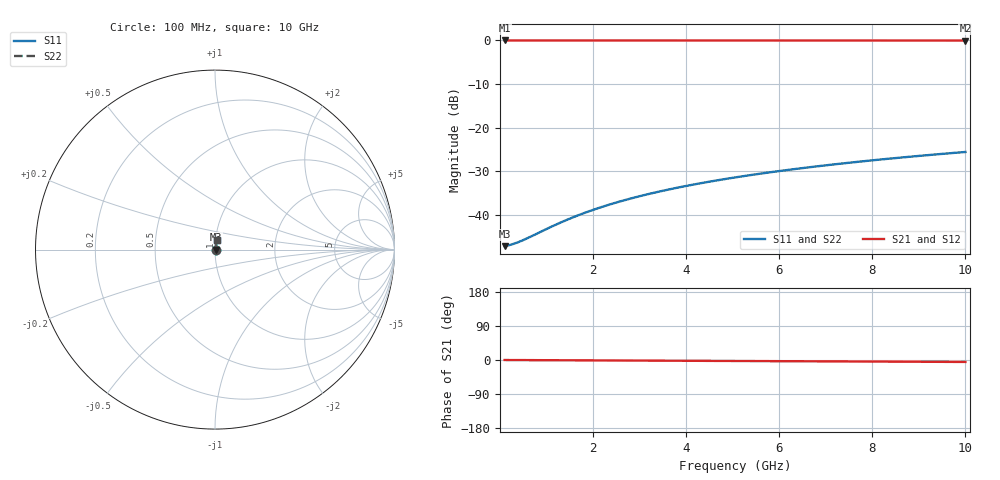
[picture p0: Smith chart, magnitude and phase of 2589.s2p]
# Hz S RI R 50.00
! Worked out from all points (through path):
!   100 points, 100 MHz to 10 GHz, reference 50 ohm
!   highest |S21| = -0.04 dB at 100 MHz (marker M1); lowest = -0.1 dB at 10 GHz (marker M2)
!   lowest |S11| = -47.1 dB at 100 MHz (marker M3), VSWR 1.01, Z = 50.4 + j0.0528 ohm
!   |S11| at or under -10 dB: start of sweep to end of sweep
!   |S22| runs from -47.1 to -25.5 dB; largest |S21 - S12| = 0
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1e8  0.00439 0.000523  0.9956 -0.000891  0.9956 -0.000891  0.00439 0.000523
2e8  0.00442 0.00105  0.9956 -0.00178  0.9956 -0.00178  0.00442 0.00105
3e8  0.00445 0.00157  0.9956 -0.00267  0.9956 -0.00267  0.00445 0.00157
4e8  0.00447 0.00209  0.9955 -0.00356  0.9955 -0.00356  0.00447 0.00209
6e8  0.0045 0.00314  0.9955 -0.00534  0.9955 -0.00534  0.0045 0.00314
1e9  0.00457 0.00523  0.9954 -0.00891  0.9954 -0.00891  0.00457 0.00523
1.3e9  0.00463 0.0068  0.9954 -0.0116  0.9954 -0.0116  0.00463 0.0068
1.5e9  0.00467 0.00784  0.9953 -0.0134  0.9953 -0.0134  0.00467 0.00784
1.8e9  0.00473 0.00941  0.9952 -0.016  0.9952 -0.016  0.00473 0.00941
2.1e9  0.00481 0.011  0.9952 -0.0187  0.9952 -0.0187  0.00481 0.011
2.5e9  0.00491 0.0131  0.995 -0.0223  0.995 -0.0223  0.00491 0.0131
2.9e9  0.00503 0.0152  0.9949 -0.0258  0.9949 -0.0258  0.00503 0.0152
3.4e9  0.0052 0.0178  0.9947 -0.0303  0.9947 -0.0303  0.0052 0.0178
3.8e9  0.00535 0.0199  0.9945 -0.0338  0.9945 -0.0338  0.00535 0.0199
4.2e9  0.00551 0.0219  0.9944 -0.0374  0.9944 -0.0374  0.00551 0.0219
4.6e9  0.00569 0.024  0.9941 -0.0409  0.9941 -0.0409  0.00569 0.024
5.1e9  0.00594 0.0266  0.9939 -0.0454  0.9939 -0.0454  0.00594 0.0266
5.9e9  0.00637 0.0308  0.9934 -0.0525  0.9934 -0.0525  0.00637 0.0308
6.7e9  0.00687 0.0349  0.9928 -0.0596  0.9928 -0.0596  0.00687 0.0349
7.5e9  0.00743 0.0391  0.9922 -0.0667  0.9922 -0.0667  0.00743 0.0391
8.4e9  0.00812 0.0437  0.9914 -0.0747  0.9914 -0.0747  0.00812 0.0437
1e10  0.00954 0.052  0.9897 -0.0888  0.9897 -0.0888  0.00954 0.052
